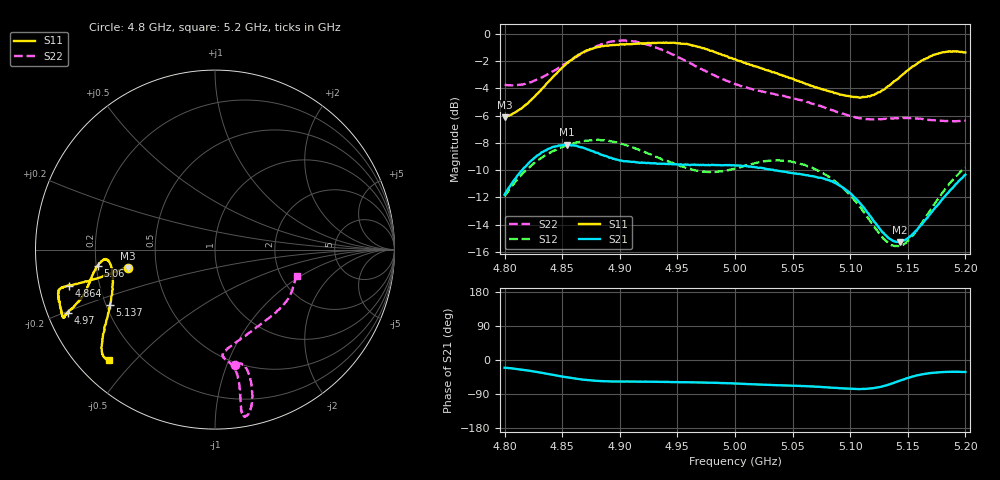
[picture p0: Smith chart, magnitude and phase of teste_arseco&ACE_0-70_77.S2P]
! Network Analyzer HP8722D
! Hewlett-Packard
! Data name: Linha & Wilkinson
! Saver's name: Rodrigo Anjos
! Comments: Teste da utilização de aquisição
! continua pelo VNA HP8722D
! Time and date: 8/5/2025 13:24
!  Frequency  S11  S21  S12  S22
# HZ  S  MA R 50
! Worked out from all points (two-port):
!   401 points, 4.8 GHz to 5.2 GHz, reference 50 ohm
!   highest |S21| = -8.14 dB at 4.854 GHz (marker M1); lowest = -15.3 dB at 5.143 GHz (marker M2)
!   |S21| within 3 dB of the highest: 4.805 GHz to 5.091 GHz (286.2 MHz wide, 5.78 % of centre); 5.190538 GHz to end of sweep
!   lowest |S11| = -6.1 dB at 4.8 GHz (marker M3), VSWR 2.96, Z = 17.1 - j4.63 ohm
!   |S11| at or under -10 dB: nowhere
!   |S22| runs from -6.4 to -0.5 dB; largest |S21 - S12| = 0.62
!   S11 on the Smith chart (normalised r, x): 4.8 GHz: 0.34, -0.09; 4.864 GHz: 0.09, -0.12; 4.97 GHz: 0.06, -0.20; 5.06 GHz: 0.21, -0.07; 5.137 GHz: 0.22, -0.24; 5.2 GHz: 0.09, -0.42
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4.8e9  0.4944 -168.0  0.2571 -20.4  0.2534 -141.5  0.6507 -80.2
4.827e9  0.5939 -167.1  0.3534 -30.9  0.3382 -145.4  0.6759 -75.5
4.854e9  0.7785 -166.1  0.3916 -45.8  0.39 -150.5  0.7824 -74.9
4.864e9  0.8382 -166.1  0.3861 -50.2  0.3999 -152.0  0.8306 -75.6
4.867e9  0.8488 -166.2  0.3833 -51.6  0.4025 -152.6  0.8461 -75.7
4.883e9  0.8963 -165.4  0.3614 -55.5  0.4077 -155.2  0.9096 -77.5
4.899e9  0.9088 -163.2  0.344 -57.0  0.3976 -157.0  0.9423 -79.4
4.914e9  0.919 -159.9  0.3378 -56.8  0.3783 -157.4  0.9358 -80.5
4.934e9  0.927 -156.9  0.334 -57.7  0.3508 -155.8  0.8809 -80.7
4.97e9  0.8913 -156.8  0.3309 -59.5  0.3134 -147.2  0.7441 -79.7
5e9  0.8074 -159.5  0.3287 -62.2  0.3211 -137.6  0.6538 -81.4
5.035e9  0.7177 -165.8  0.3156 -66.3  0.343 -134.8  0.5998 -85.6
5.06e9  0.6585 -172.1  0.3037 -68.8  0.3309 -136.7  0.5661 -84.2
5.067e9  0.643 -173.5  0.301 -69.7  0.3227 -137.4  0.5533 -82.6
5.084e9  0.6126 -175.0  0.2883 -73.1  0.2937 -138.9  0.5248 -76.1
5.1e9  0.5893 -172.3  0.2603 -76.1  0.2558 -139.2  0.4998 -66.8
5.116e9  0.5902 -165.1  0.2187 -75.8  0.2097 -135.4  0.4863 -55.3
5.134e9  0.6455 -153.8  0.1773 -64.2  0.1698 -119.8  0.4883 -42.9
5.137e9  0.6618 -152.1  0.1743 -61.3  0.1675 -115.9  0.4894 -41.3
5.143e9  0.6944 -149.1  0.1721 -54.6  0.1669 -108.0  0.4911 -37.7
5.172e9  0.8357 -139.2  0.2252 -33.7  0.2338 -81.2  0.4821 -24.4
5.2e9  0.853 -133.9  0.3044 -31.7  0.3234 -77.3  0.48 -17.6
